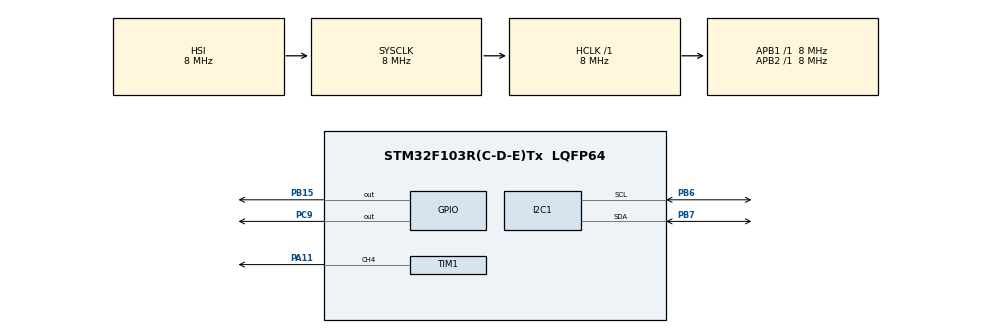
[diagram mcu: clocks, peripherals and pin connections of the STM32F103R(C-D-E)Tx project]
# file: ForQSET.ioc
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Dma.I2C1_RX.0.Direction=DMA_PERIPH_TO_MEMORY
Dma.I2C1_RX.0.Instance=DMA1_Channel7
Dma.I2C1_RX.0.MemDataAlignment=DMA_MDATAALIGN_BYTE
Dma.I2C1_RX.0.MemInc=DMA_MINC_ENABLE
Dma.I2C1_RX.0.Mode=DMA_NORMAL
Dma.I2C1_RX.0.PeriphDataAlignment=DMA_PDATAALIGN_BYTE
Dma.I2C1_RX.0.PeriphInc=DMA_PINC_DISABLE
Dma.I2C1_RX.0.Priority=DMA_PRIORITY_VERY_HIGH
Dma.I2C1_TX.1.Direction=DMA_MEMORY_TO_PERIPH
Dma.I2C1_TX.1.Instance=DMA1_Channel6
Dma.I2C1_TX.1.MemDataAlignment=DMA_MDATAALIGN_BYTE
Dma.I2C1_TX.1.MemInc=DMA_MINC_ENABLE
Dma.I2C1_TX.1.Mode=DMA_NORMAL
Dma.I2C1_TX.1.PeriphDataAlignment=DMA_PDATAALIGN_BYTE
Dma.I2C1_TX.1.PeriphInc=DMA_PINC_DISABLE
Dma.I2C1_TX.1.Priority=DMA_PRIORITY_VERY_HIGH
Dma.Request0=I2C1_RX
Dma.Request1=I2C1_TX
I2C1.OwnAddress=0x15
Mcu.Family=STM32F1
Mcu.Name=STM32F103R(C-D-E)Tx
Mcu.Package=LQFP64
NVIC.DMA1_Channel6_IRQn=true\:0\:0\:false\:false\:true\:false\:true\:true
NVIC.DMA1_Channel7_IRQn=true\:0\:0\:false\:false\:true\:false\:true\:true
NVIC.I2C1_ER_IRQn=true\:0\:0\:false\:false\:true\:true\:true\:true
NVIC.I2C1_EV_IRQn=true\:0\:0\:false\:false\:true\:true\:true\:true
NVIC.PriorityGroup=NVIC_PRIORITYGROUP_4
PA11.Signal=S_TIM1_CH4
PB15.Signal=GPIO_Output
PB6.Mode=I2C
PB6.Signal=I2C1_SCL
PB7.Mode=I2C
PB7.Signal=I2C1_SDA
PC9.Signal=GPIO_Output
PD0-OSC_IN.Mode=HSE-External-Oscillator
PD0-OSC_IN.Signal=RCC_OSC_IN
PD1-OSC_OUT.Mode=HSE-External-Oscillator
PD1-OSC_OUT.Signal=RCC_OSC_OUT
ProjectManager.HeapSize=0x200
ProjectManager.StackSize=0x400
ProjectManager.TargetToolchain=STM32CubeIDE
RCC.AHBFreq_Value=8000000
RCC.APB1Freq_Value=8000000
RCC.APB1TimFreq_Value=8000000
RCC.APB2Freq_Value=8000000
RCC.APB2TimFreq_Value=8000000
RCC.HCLKFreq_Value=8000000
RCC.HSE_VALUE=16000000
RCC.PLLSourceVirtual=RCC_PLLSOURCE_HSE
RCC.SYSCLKFreq_VALUE=8000000
RCC.USBFreq_Value=32000000
SH.S_TIM1_CH4.0=TIM1_CH4,PWM Generation4 CH4
TIM1.Channel-PWM\ Generation4\ CH4=TIM_CHANNEL_4
TIM1.Period=256
TIM1.Prescaler=8-1
TIM1.Pulse-PWM\ Generation4\ CH4=100
VP_TIM1_VS_ClockSourceINT.Mode=Internal
board=custom

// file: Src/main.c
/* USER CODE BEGIN Header */
/**
  ******************************************************************************
  * @file           : main.c
  * @brief          : Main program body
  ******************************************************************************
  * @attention
  *
  * Copyright (c) 2023 STMicroelectronics.
  * All rights reserved.
  *
  * This software is licensed under terms that can be found in the LICENSE file
  * in the root directory of this software component.
  * If no LICENSE file comes with this software, it is provided AS-IS.
  *
  ******************************************************************************
  */
/* USER CODE END Header */
#include "main.h"

I2C_HandleTypeDef hi2c1;
DMA_HandleTypeDef hdma_i2c1_rx;
DMA_HandleTypeDef hdma_i2c1_tx;

TIM_HandleTypeDef htim1;

/* USER CODE BEGIN PV */
void changeMotor(uint8_t);

/* USER CODE END PV */

void SystemClock_Config(void);
static void MX_GPIO_Init(void);
static void MX_DMA_Init(void);
static void MX_TIM1_Init(void);
static void MX_I2C1_Init(void);

/* USER CODE BEGIN 0 */
uint8_t rxData[20];
/* USER CODE END 0 */

int main(void)
{

  /* MCU Configuration--------------------------------------------------------*/

  /* Reset of all peripherals, Initializes the Flash interface and the Systick. */
  HAL_Init();

  /* Configure the system clock */
  SystemClock_Config();

  /* Initialize all configured peripherals */
  MX_GPIO_Init();
  MX_DMA_Init();
  MX_TIM1_Init();
  MX_I2C1_Init();

  /* Infinite loop */
  /* USER CODE BEGIN WHILE */
  HAL_TIM_Base_Start(&htim1);
  HAL_TIM_PWM_Start(&htim1,TIM_CHANNEL_4);
//  HAL_GPIO_WritePin(GPIOC, GPIO_PIN_9, GPIO_PIN_SET);
//  HAL_GPIO_WritePin(GPIOB, GPIO_PIN_15, GPIO_PIN_SET);

  // reading from the right to left
  // 0 bit is power, 1 + 2 bit is speed, 3 bit is direction
  uint8_t vals = 0b0101;

  while (1)
  {

//	  changeMotor(vals);
	  i2c_pi_transfer(&hi2c1,rxData,sizeof(rxData),rxData,sizeof(rxData));
	  HAL_Delay(3000);
	  if(rxData[1]) // Check for any data
	  {
			  changeMotor(rxData[1]);
			  rxData[1] = 0; // clear the buffer indicating no more tasks need to be executed

	  }

    /* USER CODE END WHILE */

  }
}

void SystemClock_Config(void)
{
  RCC_OscInitTypeDef RCC_OscInitStruct = {0};
  RCC_ClkInitTypeDef RCC_ClkInitStruct = {0};

  /** Initializes the RCC Oscillators according to the specified parameters
  * in the RCC_OscInitTypeDef structure.
  */
  RCC_OscInitStruct.OscillatorType = RCC_OSCILLATORTYPE_HSI;
  RCC_OscInitStruct.HSIState = RCC_HSI_ON;
  RCC_OscInitStruct.HSICalibrationValue = RCC_HSICALIBRATION_DEFAULT;
  RCC_OscInitStruct.PLL.PLLState = RCC_PLL_NONE;
  if (HAL_RCC_OscConfig(&RCC_OscInitStruct) != HAL_OK)
  {
    Error_Handler();
  }

  /** Initializes the CPU, AHB and APB buses clocks
  */
  RCC_ClkInitStruct.ClockType = RCC_CLOCKTYPE_HCLK|RCC_CLOCKTYPE_SYSCLK
                              |RCC_CLOCKTYPE_PCLK1|RCC_CLOCKTYPE_PCLK2;
  RCC_ClkInitStruct.SYSCLKSource = RCC_SYSCLKSOURCE_HSI;
  RCC_ClkInitStruct.AHBCLKDivider = RCC_SYSCLK_DIV1;
  RCC_ClkInitStruct.APB1CLKDivider = RCC_HCLK_DIV1;
  RCC_ClkInitStruct.APB2CLKDivider = RCC_HCLK_DIV1;

  if (HAL_RCC_ClockConfig(&RCC_ClkInitStruct, FLASH_LATENCY_0) != HAL_OK)
  {
    Error_Handler();
  }
}

static void MX_I2C1_Init(void)
{

  hi2c1.Instance = I2C1;
  hi2c1.Init.ClockSpeed = 100000;
  hi2c1.Init.DutyCycle = I2C_DUTYCYCLE_2;
  hi2c1.Init.OwnAddress1 = 42;
  hi2c1.Init.AddressingMode = I2C_ADDRESSINGMODE_7BIT;
  hi2c1.Init.DualAddressMode = I2C_DUALADDRESS_DISABLE;
  hi2c1.Init.OwnAddress2 = 0;
  hi2c1.Init.GeneralCallMode = I2C_GENERALCALL_DISABLE;
  hi2c1.Init.NoStretchMode = I2C_NOSTRETCH_DISABLE;
  if (HAL_I2C_Init(&hi2c1) != HAL_OK)
  {
    Error_Handler();
  }

}

static void MX_TIM1_Init(void)
{

  TIM_ClockConfigTypeDef sClockSourceConfig = {0};
  TIM_MasterConfigTypeDef sMasterConfig = {0};
  TIM_OC_InitTypeDef sConfigOC = {0};
  TIM_BreakDeadTimeConfigTypeDef sBreakDeadTimeConfig = {0};

  htim1.Instance = TIM1;
  htim1.Init.Prescaler = 8-1;
  htim1.Init.CounterMode = TIM_COUNTERMODE_UP;
  htim1.Init.Period = 256;
  htim1.Init.ClockDivision = TIM_CLOCKDIVISION_DIV1;
  htim1.Init.RepetitionCounter = 0;
  htim1.Init.AutoReloadPreload = TIM_AUTORELOAD_PRELOAD_DISABLE;
  if (HAL_TIM_Base_Init(&htim1) != HAL_OK)
  {
    Error_Handler();
  }
  sClockSourceConfig.ClockSource = TIM_CLOCKSOURCE_INTERNAL;
  if (HAL_TIM_ConfigClockSource(&htim1, &sClockSourceConfig) != HAL_OK)
  {
    Error_Handler();
  }
  if (HAL_TIM_PWM_Init(&htim1) != HAL_OK)
  {
    Error_Handler();
  }
  sMasterConfig.MasterOutputTrigger = TIM_TRGO_RESET;
  sMasterConfig.MasterSlaveMode = TIM_MASTERSLAVEMODE_DISABLE;
  if (HAL_TIMEx_MasterConfigSynchronization(&htim1, &sMasterConfig) != HAL_OK)
  {
    Error_Handler();
  }
  sConfigOC.OCMode = TIM_OCMODE_PWM1;
  sConfigOC.Pulse = 100;
  sConfigOC.OCPolarity = TIM_OCPOLARITY_HIGH;
  sConfigOC.OCFastMode = TIM_OCFAST_DISABLE;
  sConfigOC.OCIdleState = TIM_OCIDLESTATE_RESET;
  sConfigOC.OCNIdleState = TIM_OCNIDLESTATE_RESET;
  if (HAL_TIM_PWM_ConfigChannel(&htim1, &sConfigOC, TIM_CHANNEL_4) != HAL_OK)
  {
    Error_Handler();
  }
  sBreakDeadTimeConfig.OffStateRunMode = TIM_OSSR_DISABLE;
  sBreakDeadTimeConfig.OffStateIDLEMode = TIM_OSSI_DISABLE;
  sBreakDeadTimeConfig.LockLevel = TIM_LOCKLEVEL_OFF;
  sBreakDeadTimeConfig.DeadTime = 0;
  sBreakDeadTimeConfig.BreakState = TIM_BREAK_DISABLE;
  sBreakDeadTimeConfig.BreakPolarity = TIM_BREAKPOLARITY_HIGH;
  sBreakDeadTimeConfig.AutomaticOutput = TIM_AUTOMATICOUTPUT_DISABLE;
  if (HAL_TIMEx_ConfigBreakDeadTime(&htim1, &sBreakDeadTimeConfig) != HAL_OK)
  {
    Error_Handler();
  }
  HAL_TIM_MspPostInit(&htim1);

}

static void MX_DMA_Init(void)
{

  /* DMA controller clock enable */
  __HAL_RCC_DMA1_CLK_ENABLE();

  /* DMA interrupt init */
  /* DMA1_Channel6_IRQn interrupt configuration */
  HAL_NVIC_SetPriority(DMA1_Channel6_IRQn, 0, 0);
  HAL_NVIC_EnableIRQ(DMA1_Channel6_IRQn);
  /* DMA1_Channel7_IRQn interrupt configuration */
  HAL_NVIC_SetPriority(DMA1_Channel7_IRQn, 0, 0);
  HAL_NVIC_EnableIRQ(DMA1_Channel7_IRQn);

}

static void MX_GPIO_Init(void)
{
  GPIO_InitTypeDef GPIO_InitStruct = {0};

  /* GPIO Ports Clock Enable */
  __HAL_RCC_GPIOD_CLK_ENABLE();
  __HAL_RCC_GPIOB_CLK_ENABLE();
  __HAL_RCC_GPIOC_CLK_ENABLE();
  __HAL_RCC_GPIOA_CLK_ENABLE();

  /*Configure GPIO pin Output Level */
  HAL_GPIO_WritePin(GPIOB, GPIO_PIN_15, GPIO_PIN_RESET);

  /*Configure GPIO pin Output Level */
  HAL_GPIO_WritePin(GPIOC, GPIO_PIN_9, GPIO_PIN_RESET);

  /*Configure GPIO pin : PB15 */
  GPIO_InitStruct.Pin = GPIO_PIN_15;
  GPIO_InitStruct.Mode = GPIO_MODE_OUTPUT_PP;
  GPIO_InitStruct.Pull = GPIO_NOPULL;
  GPIO_InitStruct.Speed = GPIO_SPEED_FREQ_LOW;
  HAL_GPIO_Init(GPIOB, &GPIO_InitStruct);

  /*Configure GPIO pin : PC9 */
  GPIO_InitStruct.Pin = GPIO_PIN_9;
  GPIO_InitStruct.Mode = GPIO_MODE_OUTPUT_PP;
  GPIO_InitStruct.Pull = GPIO_NOPULL;
  GPIO_InitStruct.Speed = GPIO_SPEED_FREQ_LOW;
  HAL_GPIO_Init(GPIOC, &GPIO_InitStruct);

}

/* USER CODE BEGIN 4 */
void changeMotor(uint8_t vals){
	uint8_t powerBit = vals & 0x1;
	uint8_t speedBits = (vals >> 1) & 0x3;
	uint8_t directionBit = (vals >> 3) & 0x1;

	if(powerBit != 1){
		HAL_GPIO_WritePin(GPIOB, GPIO_PIN_15, GPIO_PIN_RESET);
	}
	else{
		HAL_GPIO_WritePin(GPIOB, GPIO_PIN_15, GPIO_PIN_SET);

		// ccw rotation
		if(directionBit == 1){
			HAL_GPIO_WritePin(GPIOC, GPIO_PIN_9, GPIO_PIN_SET);

		}
		else{
			HAL_GPIO_WritePin(GPIOC, GPIO_PIN_9, GPIO_PIN_RESET);
		}

		switch(speedBits){
		 	case 0:
		 		// 25%
		 		__HAL_TIM_SET_COMPARE(&htim1, TIM_CHANNEL_4, 77);
				break;
		 	case 1:
		 		// 50%
		 		__HAL_TIM_SET_COMPARE(&htim1, TIM_CHANNEL_4, 128);
				break;
		 	case 2:
		 		// 75%
		 		__HAL_TIM_SET_COMPARE(&htim1, TIM_CHANNEL_4, 179);
				break;
		 	case 3:
		 		// 100%
		 		__HAL_TIM_SET_COMPARE(&htim1, TIM_CHANNEL_4, 230);
				break;

		}
	}
}
/* USER CODE END 4 */

void Error_Handler(void)
{
  __disable_irq();
  while (1)
  {
  }
}
